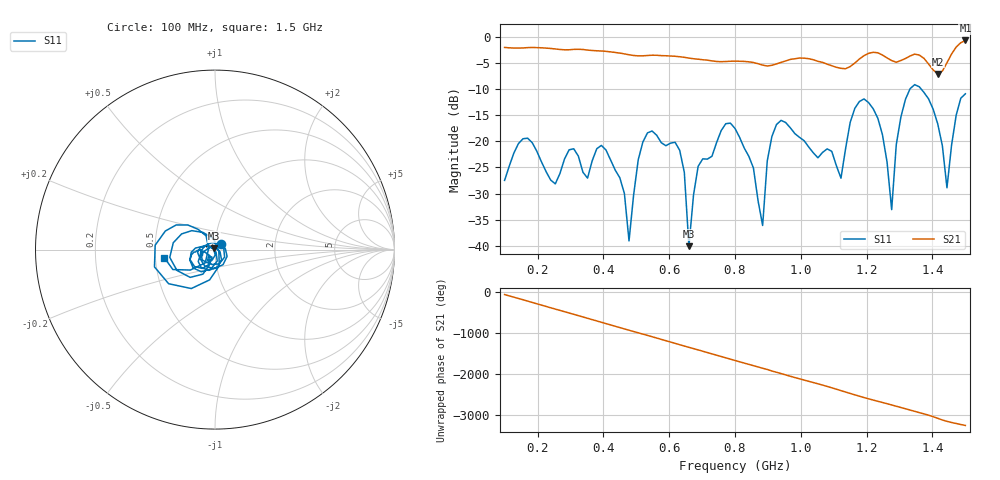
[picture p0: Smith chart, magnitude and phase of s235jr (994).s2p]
! NanoVNA-App
! Date: 2025-09-25 15:11:54
! Start: 100MHz Stop: 1,5GHz Points: 101
! S-Parameter data: F S11 S21 S12 S22
# Hz S RI R 50
!  Frequency  S11_Real  S11_Imag  S21_Real  S21_Imag  S12_Real  S12_Imag  S22_Real  S22_Imag
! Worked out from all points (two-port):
!   101 points, 100 MHz to 1.5 GHz, reference 50 ohm
!   highest |S21| = -0.63 dB at 1.5 GHz (marker M1); lowest = -7.0 dB at 1.416 GHz (marker M2)
!   |S21| within 3 dB of the highest: start of sweep to 608.3 MHz; 1.19 GHz to 1.253 GHz (62.93 MHz wide, 5.15 % of centre) (the widest 2 of 4)
!   lowest |S11| = -40.1 dB at 660 MHz (marker M3), VSWR 1.02, Z = 49.2 + j0.619 ohm
!   |S11| at or under -10 dB: start of sweep to 1.331 GHz; 1.366 GHz to end of sweep
!   S12 and S22 are empty: the file has one direction only
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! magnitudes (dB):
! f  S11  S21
! 100 MHz  -27.5  -2.0
! 170 MHz  -19.4  -2.0
! 338 MHz  -25.9  -2.4
! 408 MHz  -21.6  -2.7
! 478 MHz  -39.1  -3.4
! 520 MHz  -20.1  -3.6
! 576 MHz  -20.2  -3.5
! 632 MHz  -21.7  -3.7
! 660 MHz  -40.1  -4.0
! 688 MHz  -24.8  -4.2
! 800 MHz  -17.5  -4.6
! 884 MHz  -36.1  -5.4
! 926 MHz  -16.8  -5.1
! 1.038 GHz  -22.2  -4.3
! 1.122 GHz  -27.1  -6.0
! 1.192 GHz  -11.8  -3.5
! 1.248 GHz  -18.7  -3.4
! 1.276 GHz  -33.1  -4.5
! 1.332 GHz  -9.9  -3.6
! 1.416 GHz  -16.6  -7.0
! 1.444 GHz  -28.9  -4.9
! 1.5 GHz  -10.9  -0.6
